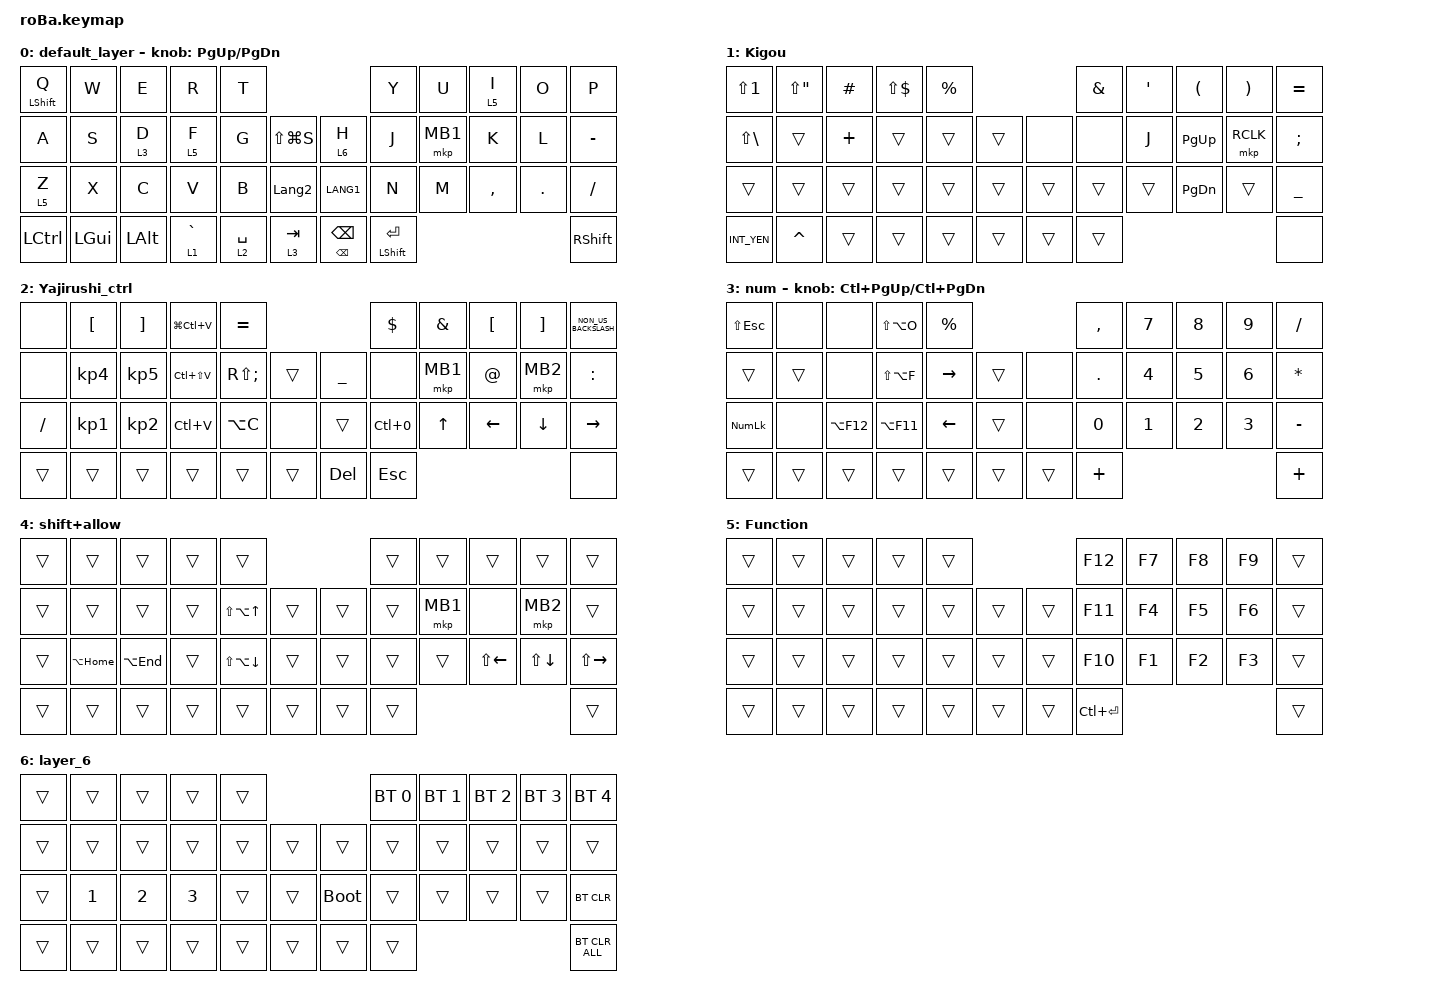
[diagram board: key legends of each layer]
#include <behaviors.dtsi>
#include <dt-bindings/zmk/bt.h>
#include <dt-bindings/zmk/keys.h>
#include <dt-bindings/zmk/pointing.h>

#define MOUSE 4
#define SCROLL 5
#define NUM 6

&mt {
    flavor = "balanced";
    quick-tap-ms = <0>;
};

/ {
    combos {
        compatible = "zmk,combos";

        tab {
            bindings = <&kp TAB>;
            key-positions = <11 12>;
        };

        shift_tab {
            bindings = <&kp LS(TAB)>;
            key-positions = <12 13>;
        };

        muhennkann {
            bindings = <&to_layer_0 INT_MUHENKAN>;
            key-positions = <11 10>;
        };

        double_quotation {
            bindings = <&kp DOUBLE_QUOTES>;
            key-positions = <20 21>;
        };

        eq {
            bindings = <&kp EQUAL>;
            key-positions = <24 25>;
        };
    };

    macros {
        to_layer_0: to_layer_0 {
            compatible = "zmk,behavior-macro-one-param";
            #binding-cells = <1>;
            bindings = <&to 0 &macro_param_1to1 &kp MACRO_PLACEHOLDER>;
            label = "TO_LAYER_0";
        };
    };

    behaviors {
        lt_to_layer_0: lt_to_layer_0 {
            compatible = "zmk,behavior-hold-tap";
            label = "LAYER_TAP_TO_0";
            bindings = <&mo>, <&to_layer_0>;

            #binding-cells = <2>;
            tapping-term-ms = <200>;
        };
    };

    keymap {
        compatible = "zmk,keymap";

        default_layer {
            bindings = <
&mt LEFT_SHIFT Q    &kp W         &kp E               &kp R                   &kp T                                                           &kp Y                 &kp U     &lt 5 I    &kp O    &kp P
&kp A               &kp S         &lt_to_layer_0 3 D  &lt_to_layer_0 5 F      &kp G        &kp LS(LG(S))             &lt_to_layer_0 6 H       &kp J                 &mkp MB1  &kp K      &kp L    &kp MINUS
&lt_to_layer_0 5 Z  &kp X         &kp C               &kp V                   &kp B        &kp LANGUAGE_2            &kp LANG1                &kp N                 &kp M     &kp COMMA  &kp DOT  &kp SLASH
&kp LCTRL           &kp LEFT_GUI  &kp LEFT_ALT        &lt_to_layer_0 1 GRAVE  &lt 2 SPACE  &lt_to_layer_0 3 TAB      &mt BACKSPACE BACKSPACE  &mt LEFT_SHIFT ENTER                                &kp RIGHT_SHIFT
            >;

            sensor-bindings = <&inc_dec_kp PAGE_UP PAGE_DOWN>;
        };

        Kigou {
            bindings = <
&kp LS(NUMBER_1)   &kp LS(DOUBLE_QUOTES)  &kp HASH  &kp LS(DOLLAR)  &kp PERCENT                      &kp AMPERSAND  &kp SQT  &kp LEFT_PARENTHESIS  &kp RIGHT_PARENTHESIS  &kp EQUAL
&kp LS(BACKSLASH)  &trans                 &kp PLUS  &trans          &trans       &trans      &none   &none          &kp J    &kp PAGE_UP           &mkp RCLK              &kp SEMI
&trans             &trans                 &trans    &trans          &trans       &trans      &trans  &trans         &trans   &kp PAGE_DOWN         &trans                 &kp UNDER
&kp INT_YEN        &kp CARET              &trans    &trans          &trans       &trans      &trans  &trans                                                               &none
            >;
        };

        Yajirushi_ctrl {
            bindings = <
&none      &kp LEFT_BRACKET  &kp RIGHT_BRACKET  &kp LG(LC(V))  &kp EQUAL                                      &kp DOLLAR  &kp AMPERSAND  &kp LEFT_BRACKET  &kp RIGHT_BRACKET  &kp NON_US_BACKSLASH
&none      &kp KP_NUMBER_4   &kp KP_NUMBER_5    &kp LC(LS(V))  &kp RS(SEMICOLON)  &trans      &kp UNDERSCORE  &none       &mkp MB1       &kp AT_SIGN       &mkp MB2           &kp COLON
&kp SLASH  &kp KP_NUMBER_1   &kp KP_NUMBER_2    &kp LC(V)      &kp LA(C)          &none       &trans          &kp LC(N0)  &kp UP         &kp LEFT          &kp DOWN           &kp RIGHT
&trans     &trans            &trans             &trans         &trans             &trans      &kp DELETE      &kp ESCAPE                                                      &none
            >;
        };

        num {
            bindings = <
&kp LS(ESCAPE)  &none   &none        &kp LS(LA(O))  &kp PERCENT                      &kp COMMA     &kp NUMBER_7  &kp NUMBER_8  &kp NUMBER_9  &kp SLASH
&trans          &trans  &none        &kp LS(LA(F))  &kp RIGHT    &trans      &none   &kp PERIOD    &kp NUMBER_4  &kp NUMBER_5  &kp NUMBER_6  &kp ASTERISK
&kp KP_NUMLOCK  &none   &kp LA(F12)  &kp LA(F11)    &kp LEFT     &trans      &none   &kp NUMBER_0  &kp NUMBER_1  &kp NUMBER_2  &kp NUMBER_3  &kp MINUS
&trans          &trans  &trans       &trans         &trans       &trans      &trans  &kp PLUS                                                &kp PLUS
            >;

            sensor-bindings = <&inc_dec_kp LC(PAGE_UP) LC(PAGE_DOWN)>;
        };

        shift+allow {
            bindings = <
&trans  &trans        &trans       &trans  &trans                                      &trans  &trans    &trans        &trans              &trans
&trans  &trans        &trans       &trans  &kp LS(LA(UP_ARROW))    &trans      &trans  &trans  &mkp MB1  &none         &mkp MB2            &trans
&trans  &kp LA(HOME)  &kp LA(END)  &trans  &kp LS(LA(DOWN_ARROW))  &trans      &trans  &trans  &trans    &kp LS(LEFT)  &kp LS(DOWN_ARROW)  &kp LS(RIGHT)
&trans  &trans        &trans       &trans  &trans                  &trans      &trans  &trans                                              &trans
            >;
        };

        Function {
            bindings = <
&trans  &trans  &trans  &trans  &trans                      &kp F12        &kp F7  &kp F8  &kp F9  &trans
&trans  &trans  &trans  &trans  &trans  &trans      &trans  &kp F11        &kp F4  &kp F5  &kp F6  &trans
&trans  &trans  &trans  &trans  &trans  &trans      &trans  &kp F10        &kp F1  &kp F2  &kp F3  &trans
&trans  &trans  &trans  &trans  &trans  &trans      &trans  &kp LC(ENTER)                          &trans
            >;
        };

        layer_6 {
            bindings = <
&trans  &trans        &trans        &trans        &trans                           &bt BT_SEL 0  &bt BT_SEL 1  &bt BT_SEL 2  &bt BT_SEL 3  &bt BT_SEL 4
&trans  &trans        &trans        &trans        &trans  &trans      &trans       &trans        &trans        &trans        &trans        &trans
&trans  &kp NUMBER_1  &kp NUMBER_2  &kp NUMBER_3  &trans  &trans      &bootloader  &trans        &trans        &trans        &trans        &bt BT_CLR
&trans  &trans        &trans        &trans        &trans  &trans      &trans       &trans                                                  &bt BT_CLR_ALL
            >;
        };
    };
};
